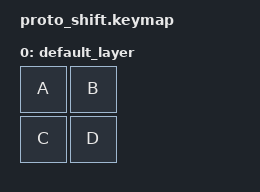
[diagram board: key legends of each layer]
/*
 * proto_matrix と同じ 4 キー。列の供給元が 74HC595 になっただけなので、
 * 期待する文字も同じにしてある。C2-a の結果とそのまま比べられる。
 *
 *   a b
 *   c d
 */
#include <behaviors.dtsi>
#include <dt-bindings/zmk/keys.h>

/ {
	keymap {
		compatible = "zmk,keymap";

		default_layer {
			bindings = <
			&kp A &kp B
			&kp C &kp D
			>;
		};
	};
};
